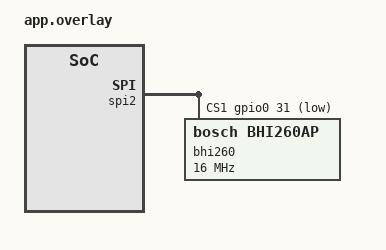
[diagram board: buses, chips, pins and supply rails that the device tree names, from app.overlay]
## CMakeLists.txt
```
# Step 3c app: pull-protocol product app (modular)
cmake_minimum_required(VERSION 3.20.0)
find_package(Zephyr REQUIRED HINTS $ENV{ZEPHYR_BASE})
project(pull_proto)

target_sources(app PRIVATE
  src/main.c
  src/store_flash.c
  src/led_state.c
  src/button.c
  src/ble_lifecycle.c
  src/pull_proto.c
  src/ble_config.c
  src/recorder.c
  src/power_state.c
  src/ota_gate.c
  src/sensor_prod.c
  src/sensor_synth.c
  src/bitpacker.c
  src/ring.c
  src/bhy2/bhy2.c
  src/bhy2/bhy2_hif.c
  src/bhy2/bhy2_parse.c
  src/bhy2/bhy2_zephyr.c
)
```

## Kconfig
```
# SGC app Kconfig — bench instrumentation gate (v0.20.0 producer-merge).
#
# Bench builds (JP-PC development): CONFIG_SGC_BENCH=y keeps the 1 Hz
# b1_rate telemetry thread alive. Production builds (ANNA-B402) set =n.
# The synthetic-run machinery ('S' frame producer, 'w' storage producer)
# is bench-only by construction: it lives behind this gate too.
menu "SGC"

config SGC_BENCH
	bool "Bench instrumentation (b1_rate telemetry, synth producers)"
	default y
	help
	  Keep serial bench telemetry and synthetic-run producers compiled
	  in. Say n for production images.

endmenu

# An app-root Kconfig REPLACES the Zephyr root — it must source the
# real tree itself (Zephyr docs: Application-Specific Kconfig).
source "Kconfig.zephyr"
```

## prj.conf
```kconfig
# Kconfig gates
CONFIG_BT=y
# Peripheral role: connectable + GATT server (BT_CONN follows)
CONFIG_BT_PERIPHERAL=y
CONFIG_BT_DEVICE_NAME="SGC-Dev"
# v0.21.5: F21 renames update GAP + advertised name (factory default
# stays "SGC-Dev" until the user renames; bt_set_name overrides it).
CONFIG_BT_DEVICE_NAME_DYNAMIC=y
CONFIG_LED=y
CONFIG_REBOOT=y
# External SPI NOR (stock Nicla: MX25R1635F 2 MB on spi2, CS P0.26 —
# board DTS already declares it; we just enable the driver family).
CONFIG_SPI=y
CONFIG_FLASH=y
# 4 KB erase granularity (driver default is 64 K blocks; both the chip
# and driver support the 4 K sector — erase path auto-selects by span).
# Required by the 4b circular run log for sector-padded packing.
CONFIG_SPI_NOR_FLASH_LAYOUT_PAGE_SIZE=4096

# ATT MTU 247 (Zephyr 4.4 recipe; old BT_L2CAP_RX_MTU symbol is gone):
# console lines (41 B) and stream frames (243 B) exceed the default 20-B
# notify cap of MTU 23. The phone side always initiates the exchange;
# the device just needs the capacity to answer 247.
CONFIG_BT_L2CAP_TX_MTU=300
CONFIG_BT_BUF_ACL_RX_SIZE=304
# TX burst headroom: default ~3 buffers/contexts ENOMEMs on the 3rd
# back-to-back notify (d_end after two dir lines). Stream + dir bursts
# need pool depth, not just size.
# (was CONFIG_BT_CONN_TX_MAX=10 — [DEPRECATED] in 4.4; the master default
#  several pools inherit is BT_BUF_ACL_TX_COUNT, Kconfig.gatt:18 chains it)
CONFIG_BT_BUF_ACL_TX_COUNT=10
# Compile-time invariant: EVT_RX count must EXCEED ACL_TX count (gcc.h
# static assert bites otherwise) — depth changes are a family affair.
CONFIG_BT_BUF_EVT_RX_COUNT=12
CONFIG_BT_L2CAP_TX_BUF_COUNT=10
# THE pool that starved (att.c:356 att_pool): MTU-exchange rsp + CCC writes
# + dir-line notify burst all draw from BT_ATT_TX_COUNT (default 3!) —
# the 3rd back-to-back notify ENOMEMs. att.c owns it; nothing else covers it.
CONFIG_BT_ATT_TX_COUNT=10

# F12 System Off (v0.23.0): 1 h unconnected SLEEP → sys_poweroff(); the
# <zephyr/sys/poweroff.h> API is gated by CONFIG_POWEROFF (the nRF52 SoC
# provides the z_sys_poweroff hook: soc/nordic/common/poweroff.c).
CONFIG_POWEROFF=y
# F13 rr line: reset-reason decode (System-Off wake = RESET_LOW_POWER_WAKE
# → printed as rr:4) via hwinfo_get_reset_cause().
CONFIG_HWINFO=y

# Serial command input (JP directive 09-25, ArduinoFW FWR-1/SR-5 parity):
# the console UART has RX on P0.9 (board pinctrl) — the DAPLink bridge
# forwards PC->board. One parse path (cmd_work), two transports.
CONFIG_CONSOLE=y
# The getline/getchar input helpers are a separate subsys under the
# console driver — without this umbrella the GETLINE choice is invisible.
CONFIG_CONSOLE_SUBSYS=y
# Serial RX = our own UART ISR (peripheral_uart pattern); the console
# getchar/getline subsystem is NOT used (broken on this nRF-UARTE:
# three wild-pointer boot faults, 09-26).
# Console INPUT needs the UART driver interrupt-driven (polling mode
# gives working printk TX but a dead RX path — zcmd silence, 09-26).
CONFIG_UART_INTERRUPT_DRIVEN=y
CONFIG_I2C=y
# Bench gate (Kconfig): b1_rate telemetry + synth producers (v0.20.0).
# The B2 differential oracle (bp_ref C++ + CONFIG_CPP) was REMOVED —
# the C bitpacker was proven byte-identical on-target (81/81 frames,
# ledger 2026-10-02) and stays guarded by the host-side golden suite.
CONFIG_SGC_BENCH=y

# ── OTA Stage 1 (REQ-OTA / F40 rewritten, JP GO 2026-10-31) ────────
# MCUboot dual-bank: sysbuild lane (tools/zbuild_ota.bat) pulls the
# bootloader child image in; app moves off 0x0 (one-time SWD migration
# flash = mcuboot.hex + signed app hex, zflash both).
CONFIG_BOOTLOADER_MCUBOOT=y
# MCUmgr: SMP transport over BLE (8D53DC1D-... service, nRF Connect
# for Mobile uploads) + image management group (upload/verify/test).
# NAMES: Zephyr 4.4 renamed these (was MCUMGR_SMP_BT / CMD_IMG_MGMT);
# build gate MUST verify autoconf.h actually contains them (unknown
# Kconfigs warn silently = feature off).
# deps verified from the tree itself (build p0240a abort + NCS Kconfigs):
# MCUMGR needs ZCBOR + NET_BUF; MCUMGR_GRP_IMG (the 4.4 name — NOT
# MCUMGR_CMD_IMG_GROUP) needs IMG_MANAGER. Zephyr 4.4 layout:
# subsys/mgmt/mcumgr/grp/img_mgmt.
CONFIG_ZCBOR=y
CONFIG_IMG_MANAGER=y
CONFIG_MCUMGR=y
CONFIG_MCUMGR_TRANSPORT_BT=y
# Attempt-9 (build f164d9a RAM overflow -11KB: full smp_svr transport set does
# not fit; NETBUF_COUNT x 2475 + stacks). MINIMAL fix: only the params query —
# the actual root cause of the app's "MTU: 0" (Device Manager reads OS-group
# mcumgr params at connect: buffer_size 384 / buffer_count 4 — app adapts).
# Upload frames cap at our proven 247-MTU transport; slower, fully functional.
CONFIG_MCUMGR_GRP_OS=y
CONFIG_MCUMGR_GRP_OS_MCUMGR_PARAMS=y
# JP polish 2026-11-02: app looked unresponsive on reset (250ms built-in delay
# made double-tap necessary) - 100ms keeps the ack window but feels instant.
CONFIG_MCUMGR_GRP_OS_RESET_MS=100
# Stack watermarks for the DS verification plan: serial 'W' command.
CONFIG_THREAD_ANALYZER=y
CONFIG_THREAD_NAME=y
# attempt-12: without BT reassembly each SMP frame must fit ONE BLE write (MTU-3=244).
# 384 was only the Kconfig default. Inline comments on value lines are FORBIDDEN (Kconfig glue bug).
# Coupling invariant (DS design 2026-11-01, attempt-13): NETBUF_SIZE <= MTU-3.
# Image-list response (2 slots, 32B hashes) = 252-262B; 297 leaves 35B headroom.
CONFIG_MCUMGR_TRANSPORT_NETBUF_SIZE=297
CONFIG_MCUMGR_GRP_IMG=y
# Attempt-3 link lesson: mgmt_callback_register() exists ONLY under
# NOTIFICATION_HOOKS (mgmt/Kconfig); IMG_MANAGER absent from .config
# entirely -> MCUMGR_GRP_IMG silently dropped (dep chain). Both explicit:
CONFIG_MCUMGR_MGMT_NOTIFICATION_HOOKS=y
CONFIG_IMG_MANAGER=y
# Attempt-6 lesson (from NCS's own smp_svr sample, this exact tree):
# IMG_MANAGER's real deps = STREAM_FLASH + FLASH_MAP (+ CRC for img cmds).
# Without them IMG_MANAGER is unsatisfiable -> GRP_IMG silently dropped
# EVEN WITH the MCUboot child present. Full chain now explicit:
CONFIG_STREAM_FLASH=y
CONFIG_FLASH_MAP=y
CONFIG_CRC=y
```

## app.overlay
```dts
/*
 * Devicetree patch for THIS app only (board files stay untouched).
 *
 * The Nicla has no plain GPIO LED: its RGB LED hangs on the IS31FL3194
 * I2C chip at address 0x53 on I2C0 (TWIM0 @ 0x40003000), which the
 * board file already declares as a node named "led_rgb" — but WITHOUT
 * a devicetree label, so &led_rgb cannot be used. We therefore point
 * the standard alias "led0" at the node by full path.
 *
 * Our code then requests the LED with DT_ALIAS(led0), which is the
 * canonical Zephyr pattern and stays stable even if we later swap
 * boards (the overlay, not the code, absorbs the hardware detail).
 */
/ {
	aliases {
		led0 = &{/soc/i2c@40003000/is31fl3194@53/led_rgb};
	};
};


/*
 * BHI260AP smart sensor hub (M3 step 2). Second device on the physical
 * SPI0 bus (= &spi2, already enabled for the NOR flash): SCK P0.03 /
 * MOSI P0.04 / MISO P0.05 shared, CS P0.31 dedicated ("CS BHI260",
 * Arduino variant pin 17 — NOT P0.29, which is SPI1's header CS1).
 * 16 MHz (Arduino library clock). Host interrupt P0.14 (unused Phase A).
 */
&spi2 {
	/* BOTH chip selects on the controller: reg=<0> selects the first
	 * (flash, P0.26 — unchanged from the board file), reg=<1> selects
	 * the second (BHI260, P0.31 — our addition). */
	cs-gpios = <&gpio0 26 GPIO_ACTIVE_LOW>, <&gpio0 31 GPIO_ACTIVE_LOW>;

	bhi260: bhi260@1 {
		compatible = "bosch,bhi260ap";
		reg = <1>;
		spi-max-frequency = <16000000>;
	/* Hard reset line of the hub: BHI260 RESET pin 9 = Arduino variant
	 * pin 13 = P0.18 (see variant.cpp:91). Arduino never drives it (PCB
	 * pull-up holds it high); we pulse it low at bring-up to clear any
	 * garbage-latched state. NOTE: kept in code, not DT — the upstream
	 * bosch,bhi260ap binding silently drops non-standard properties
	 * (reset-gpios) at gen_defines time. */
		status = "okay";
	};
};

/*
 * F03 arming button (2026-10-14): monostable switch / piezo on P0.02,
 * closed to GND. Zephyr pin numbers are PHYSICAL nRF pins — pin 2
 * IS P0.02 (not the Arduino numbering trap).
 */
/ {
	aliases {
		wake-button = &wake_button;   /* DT_ALIAS(wake_button) */
	};

	wake_button: wake_button {
		/* Plain node (no gpio-keys binding — that needs a parent
		 * container in Zephyr 4.4); the driver reads gpios +
		 * gpio-pull-up directly via DT_ALIAS. */
		status = "okay";
		gpios = <&gpio0 2 GPIO_ACTIVE_LOW>;
		gpio-pull-up;          /* internal pull-up, switch to GND */
	};
};
```

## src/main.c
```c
/*
 * SGC Zephyr — App 03: pull-protocol product app (v0.23.0)
 * ==================================================================
 * Wiring only (step 3c split; v0.20.0 producer-merge cleanup removed
 * the retired scaffolding — bp_ref oracle, boot self-test, demo_svc,
 * store_fake):
 *
 *   store.h + store_flash.c  run blobs (byte-exact ArduinoFW layout)
 *   led_state.c              LED as link state (own 1 Hz tick)
 *   ble_lifecycle.c          advertising + conn callbacks + restart
 *   pull_proto.c             0x5347 product service: D/s commands,
 *                            binary frames, END marker, error paths
 *   recorder.c               SLEEP/ARMED/LOGGING/POST_RUN machine + baro-drop
 *   power_state.c            SLEEP low-power actuator (slow adv, sensor park,
 *                            1 h unconnected → System Off, rr line) (F12/F13)
 *   sensor_prod.c            BHI260 snapshots (recorder feed)
 *   sensor_synth.c           bench: synthetic FRAME runs ('S') through
 *                            the identical pipeline (pole/turn truth)
 *
 * The SGC concurrency pattern holds everywhere: ISR/callback context
 * only SUBMITS work; real work runs from the sysworkq; main() idles.
 */
#include <zephyr/kernel.h>
#include "store.h"
#include "recorder.h"
#include "ble_config.h"

/* M3 Phase A: BHI260AP hub bring-up; Phase B1: real sensor producer. */
#include "bhy2/bhy2_zephyr.h"
#include "sensor_prod.h"
#include "led_state.h"
#include "button.h"
#include "ble_lifecycle.h"
#include "pull_proto.h"
#include "power_state.h"
#include "ota_gate.h"

#include "app_version.h"

int main(void)
{
	printk("SGC app-03 pull_proto v%s\n", APP_VERSION);
	power_state_init();   /* timers + {"ev":"boot","rr":N} (rr=4: System-Off
	                      * wake cold boot, F13) */

	/* Order matters: store data first (listings + streams read it),
	 * then peripherals, then BT last (callbacks can fire from
	 * bt_enable onward — everything they touch must exist). */
	store_init();
	ble_config_start();
	ota_gate_init();   /* 0.24.0: SMP only in SLEEP (REQ-OTA) */   /* v0.18.0: config chars + battery poller */
	recorder_init();
	if (bhy2_bringup()) {
		sensor_prod_start();
	}

	if (led_state_init() != 0) {
		return 0;
	}
	button_init();     /* F03: press-to-arm (P0.02, 20 ms debounce) */
	pull_proto_start();
	/* F12: SLEEP is entered AT BOOT — before bt_enable, so the first
	 * ad set is born slow (2 s); sensors park and the 1 h System-Off
	 * window opens here. */
	power_state_on_sleep_enter();
	ble_lifecycle_start();

	printk("init complete, entering idle\n");
	while (1) {
		k_sleep(K_FOREVER);
	}
	return 0;
}
```

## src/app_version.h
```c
/*
 * app_version.h — single source of truth for the firmware version
 * (JP doctrine: one define, everything else reads it). Read by the
 * boot banner (main.c), the serial 'V' path, and — 0.23.6 — the
 * ABC6 GATT characteristic so the phone app can display it.
 */
#ifndef SGC_APP_VERSION_H
#define SGC_APP_VERSION_H

#define APP_VERSION "0.24.7"   /* +serial W stack watermarks (DS plan) + MCUmgr reset 100ms (double-tap quirk). Doubles as OTA loop image (alternate 0.24.6/0.24.7) */

#endif /* SGC_APP_VERSION_H */
```

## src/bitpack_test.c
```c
/**
 * @file    bitpack_test.c
 * @brief   On-target differential test: sgc_bitpacker (C port) vs the
 *          ORIGINAL ArduinoFW BitPacker (C++, compiled alongside).
 *
 * Case 1 embeds the B2a golden frames (real BHI260 capture, 2026-10-02):
 *   RV  x=-1405 y=-6711 z=-74 w=14879 (all 5 identical, device still)
 *   LACC (4,-1,3) (10,1,9) (9,1,0) (8,-3,9) (6,1,4)
 *   BARO 114782 raw -> div2 57391
 * Cases 2-5 exercise classification boundaries, forced anchor (frame 50),
 * timestamp jump, baro-delta edges. Every frame must pack byte-identically
 * on both implementations.
 */

#include "bitpack_test.h"
#include "bitpacker.h"
#include "bp_ref/bp_ref_glue.h"
#include <string.h>
#include <zephyr/kernel.h>
#include <zephyr/sys/printk.h>

struct tf {
	struct sgc_raw_frame f;
	uint32_t ts;
};

static struct tf case_golden[] = {
	{{14879, -1405, -6711, -74, 4, -1, 3, 0}, 10},
	{{14879, -1405, -6711, -74, 10, 1, 9, 57391}, 20},
	{{14879, -1405, -6711, -74, 9, 1, 0, 57391}, 30},
	{{14879, -1405, -6711, -74, 8, -3, 9, 57391}, 40},
	{{14879, -1405, -6711, -74, 6, 1, 4, 57391}, 50},
};

static struct tf case_coast[60];

static struct tf case_bound[] = {
	{{1000, 0, 0, 0, 0, 0, 0, 40000}, 0},
	{{1007, 0, 0, 0, 0, 0, 0, 40000}, 10},    /* +7: fits 4b */
	{{992, 0, 0, 0, 0, 0, 0, 40000}, 20},     /* -15 -> -8: fits 4b */
	{{1000, 8, 0, 0, 0, 0, 0, 40000}, 30},    /* +8: needs 8b */
	{{1000, 8, -128, 0, 0, 0, 0, 40000}, 40}, /* -128: 8b edge */
	{{1000, 8, -128, 127, 0, 0, 0, 40000}, 50},  /* anchor frame */
	{{1000, 8, -128, 127, 0, 200, 0, 40000}, 60}, /* +200: T3 */
};

static struct tf case_tjump[] = {
	{{500, 500, 500, 500, 0, 0, 0, 30000}, 0},
	{{500, 500, 500, 500, 0, 0, 0, 30000}, 10},
	{{500, 500, 500, 500, 0, 0, 0, 30000}, 5000},  /* >1023 ms -> T3 */
	{{500, 500, 500, 500, 0, 0, 0, 30000}, 5010},
};

static struct tf case_baro[] = {
	{{0, 0, 0, 16000, 0, 0, 0, 50000}, 0},
	{{0, 0, 0, 16000, 0, 0, 0, 50007}, 10},
	{{0, 0, 0, 16000, 0, 0, 0, 50014}, 20},   /* delta 7: fits 4b */
	{{0, 0, 0, 16000, 0, 0, 0, 50022}, 30},   /* delta 8: 8b */
	{{0, 0, 0, 16000, 0, 0, 0, 50152}, 40},   /* +130: T3 */
};

static uint32_t g_fail;

static void run_case(const char *name, const struct tf *frames, size_t n)
{
	struct sgc_bitpacker port;
	uint8_t rb[18], rtype;

	sgc_bitpacker_reset(&port);
	bp_ref_reset();
	uint32_t fails_before = g_fail;

	for (size_t i = 0; i < n; i++) {
		uint8_t ps = sgc_bitpacker_encode(&port, &frames[i].f, frames[i].ts);
		uint8_t rs = bp_ref_encode(frames[i].f.q_w, frames[i].f.q_x,
					   frames[i].f.q_y, frames[i].f.q_z,
					   frames[i].f.la_x, frames[i].f.la_y,
					   frames[i].f.la_z,
					   frames[i].f.baro_pa_div2,
					   frames[i].ts, rb, &rtype);
		bool ok = (ps == rs) && (port.last_type == rtype) &&
			  (memcmp(port.buf, rb, 18) == 0);
		if (!ok) {
			g_fail++;
			printk("{\"ev\":\"bp_fail\",\"case\":\"%s\",\"i\":%u,"
			       "\"ref\":%u/%u,\"port\":%u/%u}\n",
			       name, (unsigned)i, rs, rtype, ps, port.last_type);
		}
	}
	printk("{\"ev\":\"bp_case\",\"case\":\"%s\",\"n\":%u,\"ok\":%s}\n",
	       name, (unsigned)n,
	       (g_fail == fails_before) ? "true" : "false");
}

void bitpack_test_run(void)
{
	g_fail = 0;

	run_case("GOLDEN", case_golden,
		 sizeof(case_golden) / sizeof(case_golden[0]));

	for (int i = 0; i < 60; i++) {
		struct sgc_raw_frame f = {15000, 100, -200, 30000, 5, -5, 7, 50000};

		if (i) {
			f.q_w += (i & 1) ? 1 : -1;
			f.la_x += (i & 1) ? 1 : -1;
		}
		case_coast[i].f = f;
		case_coast[i].ts = (uint32_t)i * 10;
	}
	run_case("COAST", case_coast, 60);

	run_case("BOUND", case_bound, sizeof(case_bound) / sizeof(case_bound[0]));
	run_case("TJUMP", case_tjump, sizeof(case_tjump) / sizeof(case_tjump[0]));
	run_case("BARO", case_baro, sizeof(case_baro) / sizeof(case_baro[0]));

	printk("{\"ev\":\"bp_verdict\",\"pass\":%s,\"fails\":%u}\n",
	       g_fail == 0 ? "true" : "false", (unsigned)g_fail);
}
```

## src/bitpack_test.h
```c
#pragma once
#ifdef __cplusplus
extern "C" {
#endif
/* Differential test: C port vs ArduinoFW C++ reference ('V' command). */
void bitpack_test_run(void);
#ifdef __cplusplus
}
#endif
```

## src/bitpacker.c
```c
/**
 * @file    bitpacker.c
 * @brief   Adaptive bit-packing — C port of ArduinoFW bit_packer.cpp.
 *
 * Faithful port: same classification ranges, same clamps, same header
 * layout, same seq timing (seq = frame_count at encode time, pre-increment).
 * Differential-tested byte-exact against the original C++ on host.
 */

#include "bitpacker.h"
#include <string.h>

void sgc_bitpacker_reset(struct sgc_bitpacker *bp)
{
	memset(&bp->last, 0, sizeof(bp->last));
	memset(bp->buf, 0, sizeof(bp->buf));
	bp->frame_count = 0;
	bp->last_ms = 0;
	bp->last_size = 0;
	bp->last_type = SGC_PKT_T3;
}

static uint8_t classify(const int32_t *deltas, int32_t baro_delta)
{
	int all4 = 1, all8 = 1;

	for (int i = 0; i < 7; i++) {
		if (deltas[i] < -8 || deltas[i] > 7) {
			all4 = 0;
		}
		if (deltas[i] < -128 || deltas[i] > 127) {
			all8 = 0;
		}
	}
	if (baro_delta < -8 || baro_delta > 7) {
		all4 = 0;
	}
	if (baro_delta < -128 || baro_delta > 127) {
		all8 = 0;
	}
	if (all4) {
		return SGC_PKT_T1;
	}
	if (all8) {
		return SGC_PKT_T2;
	}
	return SGC_PKT_T3;
}

static void write_header(struct sgc_bitpacker *bp, uint32_t delta_ms, uint8_t type)
{
	uint8_t seq = (uint8_t)(bp->frame_count & 0x0Fu);
	uint16_t hdr = (uint16_t)(((uint16_t)type << 14) | ((uint16_t)seq << 10) |
				  ((uint16_t)(delta_ms & 0x3FFu)));
	bp->buf[0] = (uint8_t)(hdr & 0xFFu);
	bp->buf[1] = (uint8_t)(hdr >> 8);
}

static uint8_t clamp4(int32_t v)
{
	if (v < -8) {
		v = -8;
	}
	if (v > 7) {
		v = 7;
	}
	return (uint8_t)((uint32_t)v & 0x0Fu);
}

static uint8_t clamp8(int32_t v)
{
	if (v < -128) {
		v = -128;
	}
	if (v > 127) {
		v = 127;
	}
	return (uint8_t)((uint32_t)v & 0xFFu);
}

static void write_t1_payload(struct sgc_bitpacker *bp, const int32_t *deltas, int32_t baro_delta)
{
	uint8_t n[8];

	for (int i = 0; i < 7; i++) {
		n[i] = clamp4(deltas[i]);
	}
	n[7] = clamp4(baro_delta);
	bp->buf[2] = (uint8_t)((n[0] << 4) | n[1]);
	bp->buf[3] = (uint8_t)((n[2] << 4) | n[3]);
	bp->buf[4] = (uint8_t)((n[4] << 4) | n[5]);
	bp->buf[5] = (uint8_t)((n[6] << 4) | n[7]);
}

static void write_t2_payload(struct sgc_bitpacker *bp, const int32_t *deltas, int32_t baro_delta)
{
	for (int i = 0; i < 7; i++) {
		bp->buf[2 + i] = clamp8(deltas[i]);
	}
	bp->buf[9] = clamp8(baro_delta);
}

static void put16le(uint8_t *p, uint16_t v)
{
	p[0] = (uint8_t)(v & 0xFFu);
	p[1] = (uint8_t)((v >> 8) & 0xFFu);
}

static void write_t3_payload(struct sgc_bitpacker *bp, const struct sgc_raw_frame *cur)
{
	put16le(&bp->buf[2], (uint16_t)cur->q_w);
	put16le(&bp->buf[4], (uint16_t)cur->q_x);
	put16le(&bp->buf[6], (uint16_t)cur->q_y);
	put16le(&bp->buf[8], (uint16_t)cur->q_z);
	put16le(&bp->buf[10], (uint16_t)cur->la_x);
	put16le(&bp->buf[12], (uint16_t)cur->la_y);
	put16le(&bp->buf[14], (uint16_t)cur->la_z);
	put16le(&bp->buf[16], cur->baro_pa_div2);
}

uint8_t sgc_bitpacker_encode(struct sgc_bitpacker *bp,
			     const struct sgc_raw_frame *cur, uint32_t ts_ms)
{
	int32_t deltas[7] = { 0 };

	if (bp->frame_count == 0) {
		bp->last = *cur;
		bp->last_ms = ts_ms;
		bp->frame_count = 1;
		write_header(bp, 0, SGC_PKT_T3);
		write_t3_payload(bp, cur);
		bp->last_size = 18;
		bp->last_type = SGC_PKT_T3;
		return 18;
	}

	deltas[0] = (int32_t)cur->q_w - (int32_t)bp->last.q_w;
	deltas[1] = (int32_t)cur->q_x - (int32_t)bp->last.q_x;
	deltas[2] = (int32_t)cur->q_y - (int32_t)bp->last.q_y;
	deltas[3] = (int32_t)cur->q_z - (int32_t)bp->last.q_z;
	deltas[4] = (int32_t)cur->la_x - (int32_t)bp->last.la_x;
	deltas[5] = (int32_t)cur->la_y - (int32_t)bp->last.la_y;
	deltas[6] = (int32_t)cur->la_z - (int32_t)bp->last.la_z;

	int32_t baro_delta = (int32_t)cur->baro_pa_div2 - (int32_t)bp->last.baro_pa_div2;

	uint8_t type = classify(deltas, baro_delta);

	if ((bp->frame_count % SGC_BITPACK_ANCHOR_EVERY) == 0) {
		type = SGC_PKT_T3;
	}

	uint32_t delta_ms = ts_ms - bp->last_ms;
	if (delta_ms > 1023) {
		type = SGC_PKT_T3;
	}

	write_header(bp, (delta_ms > 1023) ? 0 : delta_ms, type);

	switch (type) {
	case SGC_PKT_T1:
		write_t1_payload(bp, deltas, baro_delta);
		bp->last_size = 6;
		break;
	case SGC_PKT_T2:
		write_t2_payload(bp, deltas, baro_delta);
		bp->last_size = 10;
		break;
	default:
		write_t3_payload(bp, cur);
		bp->last_size = 18;
		break;
	}

	bp->last_type = type;
	bp->last = *cur;
	bp->last_ms = ts_ms;
	bp->frame_count++;

	return bp->last_size;
}
```

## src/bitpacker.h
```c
/**
 * @file    bitpacker.h
 * @brief   Adaptive bit-packing — C port of ArduinoFW bit_packer.cpp (v4.90).
 *
 * Frame layout (byte-identical to ArduinoFW, golden-tested 2026-10-02):
 *   Header (2 B): bits 15-14 = type, 13-10 = seq (4b), 9-0 = delta ms (10b)
 *   T1 (6 B): 8 x int4 deltas   (7 IMU + baro)  — coasting
 *   T2 (10 B): 8 x int8 deltas  (7 IMU + baro)  — turning
 *   T3 (18 B): 7 x int16 full IMU + uint16 baro — anchor (first frame,
 *              every ANCHOR_EVERY frames, or delta_ms > 1023)
 *
 * Baro carried as baro_pa_div2 (2 Pa/LSB, uint16).
 */

#pragma once

#ifdef __cplusplus
extern "C" {
#endif

#include <stdint.h>
#include <stddef.h>

/* Mirrors ArduinoFW RawFrame (packed, 16 B). */
struct sgc_raw_frame {
    int16_t  q_w, q_x, q_y, q_z;   /* quaternion Q14 */
    int16_t  la_x, la_y, la_z;     /* linear accel (LACC raw) */
    uint16_t baro_pa_div2;         /* pressure / 2 */
};

enum sgc_pkt_type {
    SGC_PKT_T1 = 0,
    SGC_PKT_T2 = 1,
    SGC_PKT_T3 = 2,
};

struct sgc_bitpacker {
    struct sgc_raw_frame last;
    uint16_t frame_count;
    uint32_t last_ms;
    uint8_t  buf[18];
    uint8_t  last_size;
    uint8_t  last_type;
};

void   sgc_bitpacker_reset(struct sgc_bitpacker *bp);
/* Encode one frame; returns packed size (6/10/18). Data in bp->buf. */
uint8_t sgc_bitpacker_encode(struct sgc_bitpacker *bp,
			     const struct sgc_raw_frame *cur, uint32_t ts_ms);

#define SGC_BITPACK_ANCHOR_EVERY 50u   /* forced T3 every 50 frames @100 Hz */

#ifdef __cplusplus
}
#endif
```

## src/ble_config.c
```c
/*
 * ble_config.c — see ble_config.h. Battery recipe ported verbatim from
 * ArduinoCore-mbed Nicla_System (getBatteryVoltagePercentage), BQ25120A
 * @ 0x6A on i2c1 (Wire1). Sources: BQ25120A.h/.cpp, Nicla_System.cpp
 * (fetched 2026-10-09, recorded in the ledger).
 */
#include <zephyr/kernel.h>
#include <zephyr/drivers/gpio.h>
#include <zephyr/drivers/flash.h>
#include <zephyr/drivers/i2c.h>
#include <string.h>
#include "ble_config.h"
#include "ble_lifecycle.h"   /* 0.23.3: connected-aware battery poll rate */
#include "store.h"
#include "recorder.h"

/* ── Persistence (ArduinoFW FlashConfig, byte-identical) ──────────── */
#define CFG_ADDR        0x1FC000u
#define CFG_MAGIC       0x53474343u   /* "SGCC" — same as ArduinoFW   */
struct __attribute__((packed)) cfg_disk {
	uint32_t magic;
	char     dev_name[21];
	uint8_t  arm_side;
	uint8_t  discipline;
	uint8_t  _pad[5];
};

static char    cfg_name[21] = "SGC";
static uint8_t cfg_arm;              /* 0=left */
static uint8_t cfg_disc = 1;         /* GS parity with ArduinoFW */

static struct k_work_delayable cfg_flush;
static struct k_work_delayable batt_work;

static void cfg_flush_handler(struct k_work *w)
{
	const struct device *f = store_flash_device();

	if (!f) {
		printk("cfg: no flash device\n");
		return;
	}
	struct cfg_disk d;

	memset(&d, 0, sizeof(d));
	d.magic = CFG_MAGIC;
	strncpy(d.dev_name, cfg_name, sizeof(d.dev_name) - 1);
	d.arm_side = cfg_arm;
	d.discipline = cfg_disc;

	int rc = flash_erase(f, CFG_ADDR, 4096);

	if (rc == 0) {
		rc = flash_write(f, CFG_ADDR, &d, sizeof(d));
	}
	printk("cfg: persist '%s' (arm=%u disc=%u) rc=%d\n",
	       cfg_name, cfg_arm, cfg_disc, rc);
}

static void cfg_schedule_flush(void)
{
	/* Coalesce: one pending flush picks up the newest RAM values. */
	k_work_reschedule(&cfg_flush, K_MSEC(250));
}

static void cfg_load(void)
{
	const struct device *f = store_flash_device();
	struct cfg_disk d;

	if (!f || flash_read(f, CFG_ADDR, &d, sizeof(d)) != 0) {
		printk("cfg: load read FAILED — defaults\n");
		return;
	}
	if (d.magic != CFG_MAGIC) {
		printk("cfg: no valid config (magic 0x%08lx) — defaults\n",
		       (unsigned long)d.magic);
		return;
	}
	memcpy(cfg_name, d.dev_name, 20);
	cfg_name[20] = '\0';
	cfg_arm = d.arm_side ? 1 : 0;
	cfg_disc = (d.discipline > 3) ? 1 : d.discipline;
	printk("cfg: loaded '%s' arm=%u disc=%u\n",
	       cfg_name, cfg_arm, cfg_disc);
}

/* ── Config API ───────────────────────────────────────────────────── */
const char *ble_config_dev_name(void)  { return cfg_name; }
uint8_t ble_config_arm_side(void)      { return cfg_arm; }
uint8_t ble_config_discipline(void)    { return cfg_disc; }

void ble_config_set_dev_name(const char *name, uint8_t len)
{
	if (len > 20) {
		len = 20;
	}
	memcpy(cfg_name, name, len);
	cfg_name[len] = '\0';
	cfg_schedule_flush();
}

void ble_config_set_arm_side(uint8_t v)
{
	cfg_arm = v ? 1 : 0;
	cfg_schedule_flush();
}

void ble_config_set_discipline(uint8_t v)
{
	cfg_disc = (v > 3) ? 1 : v;   /* ArduinoFW parity: >3 → 1 */
	cfg_schedule_flush();
}

/* ── Battery (BQ25120A @ 0x6A on i2c1) ────────────────────────────── */
#define BQ_ADDR       0x6A
#define BQ_STATUS     0x00
#define BQ_FAULTS     0x01
#define BQ_FAST_CHG   0x03
#define BQ_BATT_MON   0x0A

#define BATT_UNKNOWN  0x7F

static const struct device *bqi2c;
static uint8_t batt_cache = BATT_UNKNOWN;
static bool batt_vin;          /* VIN present at last good read (USB power) */

static int bq_read(uint8_t reg, uint8_t *val)
{
	return i2c_write_read(bqi2c, BQ_ADDR, &reg, 1, val, 1);
}

static int bq_write(uint8_t reg, uint8_t val)
{
	uint8_t buf[2] = { reg, val };

	return i2c_write(bqi2c, buf, 2, BQ_ADDR);
}

/* Nicla_System.cpp getBatteryVoltagePercentage() — verbatim port.
 * -1 no battery / -2 unreadable / -3 skipped (battery mode) /
 * -4 I2C dead; else 0..100. */
static bool bq_on_vin = true;   /* 0.23.2: VIN state from FAULTS, refreshed per read */

static int bq_battery_pct(void)
{
	uint8_t faults;

	if (bq_read(BQ_FAULTS, &faults) != 0) {
		return -4;
	}
	static bool diag_done;   /* one-shot bench diagnostic (values) */
	if (!diag_done) {
		diag_done = true;
		uint8_t st = 0xFF;
		bq_read(BQ_STATUS, &st);
		printk("batt: BQ alive, faults=0x%02x status=0x%02x\n",
		       faults, st);
	}
	if (faults & 0x20) {            /* BAT_UVLO: not connected / too low */
		return -1;
	}

	const bool on_battery = (faults & 0x40) != 0;
	bq_on_vin = !on_battery;

	uint8_t data;

	if (on_battery) {
		/* 0.23.2 (JP bench 2026-10-27: battery % showed "unknown" the
		 * first time the device ran on battery): with VIN absent nothing
		 * is charging, so the datasheet 9.3.4 charge-pause dance is
		 * unnecessary — trigger VBMON directly and read it. The 0.21.4
		 * "CD-pin dance not ported" caveat only ever applied to reads
		 * taken while VIN was present. */
		if (bq_write(BQ_BATT_MON, 0x80) != 0) {   /* VBMON_READ */
			return -4;
		}
		k_msleep(3);
		if (bq_read(BQ_BATT_MON, &data) != 0) {
			return -4;
		}
	} else {
		/* Pause charging for an accurate reading (datasheet 9.3.4). */
		uint8_t fastchg;

		if (bq_read(BQ_FAST_CHG, &fastchg) != 0) {
			return -4;
		}
		bool was_charging = (fastchg & 0x02) == 0;

		if (fastchg & 0x02) {
			/* 0.23.5 self-heal (bench 2026-10-28: after 13 h on USB
			 * the cell still read the 92% band — a paused charger
			 * floats the cell at its natural voltage and the band
			 * never moves. A failed restore in ANY earlier poll
			 * leaves bit1 stuck FOREVER: was_charging=false then
			 * skips the restore on every later read. Clear it,
			 * loudly, then run the normal pause->read->restore.) */
			if (bq_write(BQ_FAST_CHG, fastchg & ~0x02) == 0) {
				printk("batt: charger was PAUSED - restored\n");
			}
			was_charging = true;
		}

		if (was_charging && bq_write(BQ_FAST_CHG, fastchg | 0x02) != 0) {
			return -4;
		}
		int rc = bq_write(BQ_BATT_MON, 0x80);   /* VBMON_READ */
		k_msleep(3);
		if (was_charging) {
			/* 0.23.5: the restore may not silently fail — a single
			 * NAK here pauses charging forever (see self-heal
			 * above). Retry; scream if it sticks. */
			int rr = -1;

			for (int i = 0; i < 3 && rr != 0; i++) {
				rr = bq_write(BQ_FAST_CHG, fastchg & ~0x02);
			}
			if (rr != 0) {
				printk("batt: FAST_CHG restore FAILED\n");
			}
		}
		if (rc != 0) {
			return -4;
		}
		if (bq_read(BQ_BATT_MON, &data) != 0) {
			return -4;
		}
	}
	if ((data & 0xFC) == 0) {
		return -2;
	}

	static const int threshold_lookup[] = { 0, 2, 4, 6, 0, 0, 8, 10 };
	int tens = 60 + ((data >> 5) & 0x03) * 10;
	int ones = threshold_lookup[(data >> 2) & 0x07];

	return tens + ones;
}

static void batt_work_handler(struct k_work *w)
{
	struct k_work_delayable *d =
		CONTAINER_OF(w, struct k_work_delayable, work);
	int pct = bq_battery_pct();

	switch (pct) {
	case -3:
		/* no longer produced (0.23.2) — defensive */
		batt_vin = false;
		batt_cache = BATT_UNKNOWN;
		break;
	case -4:
		printk("batt: BQ25120A I2C error\n");
		batt_cache = BATT_UNKNOWN;
		break;
	case -1:
	case -2:
		/* 0.23.3: floor code (-2) = voltage BELOW the lowest resolvable
		 * band (~60%) — that is real information, not an error. Encode it
		 * as the 0 sentinel; the app shows "< 60%". Real 0%% never occurs
		 * (the encoding floor is 60). -1 (BAT_UVLO) stays unknown. */
		batt_cache = (pct == -2) ? 0 : BATT_UNKNOWN;
		break;
	default:
		batt_cache = (uint8_t)(pct & 0x7F);
		/* 0.23.2: VIN state now comes from the FAULTS register
		 * (bq_on_vin), NOT from read success — battery-mode reads
		 * succeed too, so bit7 (charging) stays false on battery. */
		batt_vin = bq_on_vin;
		break;
	}
	/* 0.23.3 (JP: charging indication should change live when USB is
	 * plugged/unplugged): poll fast while a phone is linked — the app
	 * refreshes every 5 s — and slow otherwise so SLEEP keeps its long
	 * idle stretches (a 5 s poll would wake the SoC 12x/min for nothing). */
	k_work_reschedule(d, K_SECONDS(
		ble_lifecycle_connected() ? 5 : 30));
}

/* ── Status surfaces ──────────────────────────────────────────────── */
uint8_t ble_config_battery_byte(void)
{
	/* v0.21.4: bit7 = on USB power AND not full (charging). VIN state is
	 * implied by the read path (success ⇒ VIN present; -3 ⇒ battery).
	 * CHG_STAT pin still TODO — this reports "charging" until 100%, then
	 * "on USB, held" without the bolt. Good enough for the snow kit. */
	bool charging = batt_vin && batt_cache != BATT_UNKNOWN &&
			batt_cache < 100;
	return batt_cache | (charging ? 0x80 : 0x00);
}

bool ble_config_on_vin(void)
{
	/* 0.23.5 (JP GO 2026-10-28): power policy input — on USB the
	 * device must NOT System Off (a bench device left unconnected
	 * went dark for 11 h). Refreshed every poll (5 s / 30 s); the
	 * boot-time default is true, which can only delay (never
	 * enable) an off by one idle-poll period on battery. */
	return bq_on_vin;
}

uint8_t ble_config_state_byte(void)
{
	/* recorder: SLEEP=0 ARMED=1 LOGGING=2 POST_RUN=3; sensor flags 0
	 * until the BHI status port. */
	return recorder_state_idx() & 0x1F;
}

void ble_config_batt_debug(void)
{
	/* 0.23.4 raw-register latch test (bench serial 'y', JP 2026-10-28
	 * "always 92%, never another value"). mon_pre = the register as
	 * the last conversion left it; pct = the full production read
	 * (re-triggers a conversion, incl. the charge-pause on VIN);
	 * mon_post = register after it. Across successive 'y' polls:
	 * mon_* moving = conversions live (bands are just coarse);
	 * mon_* frozen forever, especially while charging, = latched. */
	uint8_t faults = 0, mon_pre = 0, mon_post = 0;
	uint8_t fastchg = 0, st = 0;
	int fr = bq_read(BQ_FAULTS, &faults);
	int mpre = bq_read(BQ_BATT_MON, &mon_pre);
	int pct = bq_battery_pct();
	int mpost = bq_read(BQ_BATT_MON, &mon_post);
	bq_read(BQ_FAST_CHG, &fastchg);   /* 0.23.5: bit1=1 charging paused */
	bq_read(BQ_STATUS, &st);

	printk("batt_dbg: fr=%d faults=0x%02x mon_pre=0x%02x(%d) "
	       "pct=%d mon_post=0x%02x(%d) fastchg=0x%02x st=0x%02x "
	       "cache=0x%02x byte=0x%02x\n",
	       fr, faults, mon_pre, mpre, pct, mon_post, mpost,
	       fastchg, st, batt_cache, ble_config_battery_byte());
}

uint8_t ble_config_flash_used_pct(void)
{
	return store_used_pct();
}

uint8_t ble_config_cal(void)
{
	return 0;             /* TODO: BHI calibration-status port */
}

/* ── Boot ─────────────────────────────────────────────────────────── */
void ble_config_start(void)
{
	k_work_init_delayable(&cfg_flush, cfg_flush_handler);

	/* Zephyr nodelabel vs Arduino Wire numbering TRAP (2026-10-10):
	 * the BQ25120A + IS31FL3194 sit on P0.15/P0.16, which is Zephyr
	 * &i2c0 (TWIM0) — the board dts puts the LED driver there and the
	 * LED has worked since M0. Zephyr &i2c1 = P0.22/P0.23 (Arduino
	 * "Wire", the sensor-side bus) — nothing at 0x6A there. Arduino's
	 * Wire1 = Zephyr i2c0; do not trust the names across APIs. */
	bqi2c = DEVICE_DT_GET(DT_NODELABEL(i2c0));
	if (!device_is_ready(bqi2c)) {
		printk("cfg: i2c1 not ready — battery stays unknown\n");
		bqi2c = NULL;
	}

	cfg_load();

	if (bqi2c) {
		/* 0.23.8 — ROOT CAUSE 2 of the battery saga (st=0x03 B1=1:
		 * CD_STAT 'CD high, IC disabled'): the BQ25120A CD pin
		 * (host charge-disable; Nicla wire = nRF P0.25 per ABX00050)
		 * floats high — the charger has been HARDWARE-DISABLED since
		 * the Zephyr port began, at every current setting. ArduinoFW
		 * drove it low ('CD pin port pending' comment, v0.21.4, was
		 * this exact gap). P0.25 unused by our overlay (verified
		 * 2026-10-29); Zephyr port-pin number = physical P0.xx. */
		static const struct device *gpio0 =
			DEVICE_DT_GET(DT_NODELABEL(gpio0));

		if (device_is_ready(gpio0) &&
		    gpio_pin_configure(gpio0, 25,
				       GPIO_OUTPUT_LOW) == 0) {
			printk("batt: BQ CD (P0.25) driven low - charger ON\n");
		}

		/* 0.23.7 (JP cell 2026-10-29: Renata ICP622540PMT, 550 mAh
		 * Li-ion, NTC third wire): the charger ran at the untouched
		 * factory default 10 mA since day one — "charging" was
		 * geological (550 mAh / 10 mA = 55 h). Renata standard charge
		 * 0.2C = 110 mA: full in ~5 h from empty, ~2 h from half.
		 * FAST_CHG = ICHRG_RANGE 1 (40-300 mA decade) + ICHRG code 7
		 * (40 + 7x10 = 110 mA) => 0x9C. One boot write + read-back. */
		uint8_t fastchg;

		if (bq_read(BQ_FAST_CHG, &fastchg) == 0 && fastchg != 0x9C) {
			if (bq_write(BQ_FAST_CHG, 0x9C) == 0 &&
			    bq_read(BQ_FAST_CHG, &fastchg) == 0) {
				printk("batt: ICHG %u mA (was 10 mA default)\n",
				       40 + ((fastchg >> 2) & 0x1F) * 10);
			} else {
				printk("batt: ICHG write FAILED\n");
			}
		}

		k_work_init_delayable(&batt_work, batt_work_handler);
		k_work_schedule(&batt_work, K_SECONDS(2));
	}
}
```

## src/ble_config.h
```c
/*
 * ble_config.h — SGC device-config chars (v0.18.0, error-tolerance audit B3)
 * =====================================================================
 * Implements the ArduinoFW 5.x char set the Zephyr port was missing
 * (audit 2026-10-09: the app fabricated defaults for these):
 *   ABC1 Device Name (R/W, ≤20 B)   ABC4 State+Sensors (R)
 *   ABC2 Arm Side (R/W, 0|1)        ABC5 Battery+Charging (R)
 *   ABC3 Discipline (R/W, 0..3)     ABC7 Flash Used % (R)
 *                                   ABD0 Cal Accuracy (R)
 *
 * Persistence: sector 0x1FC000 (LOG_END — reserved since SGL2, the SAME
 * address ArduinoFW used), struct byte-identical to ArduinoFW FlashConfig
 * so a device upgraded from ArduinoFW keeps its saved config.
 *
 * HONESTY RULES (JP directive 2026-10-06):
 *   - battery unknown  -> 0x7F (app renders "unknown"), never a fake 0%
 *   - battery-mode reads skipped until the CD pin port (wrong-pin write
 *     could disable charging — documented, not guessed)
 *   - cal accuracy -> 0 + TODO (BHI calibration status port)
 */
#ifndef SGC_BLE_CONFIG_H
#define SGC_BLE_CONFIG_H

#include <stdint.h>
#include <stdbool.h>

/* Load config from flash + start the battery poller. Call once at boot,
 * after store_init() (shares the flash device) — order vs BLE bring-up
 * does not matter (reads serve RAM cache). */
void ble_config_start(void);

/* ── Config (RAM cache, persisted async) ──────────────────────────── */
const char *ble_config_dev_name(void);   /* NUL-terminated, ≤20 chars */
uint8_t ble_config_arm_side(void);       /* 0=left 1=right            */
uint8_t ble_config_discipline(void);     /* 0..3                      */

/* Setters sanitize, update RAM, and schedule an erase+write on the
 * system workqueue (NEVER in BT RX context — 4 KiB erase ≈ 90 ms).
 * Rapid writes coalesce (one pending flush keeps the newest values). */
void ble_config_set_dev_name(const char *name, uint8_t len);
void ble_config_set_arm_side(uint8_t v);
void ble_config_set_discipline(uint8_t v);

/* ── Status surfaces ──────────────────────────────────────────────── */
/* ABC5: bit7 = charging (0 — TODO: STATUS CHG_STAT port), bits6-0 = %,
 * 0x7F = unknown (no battery / I2C error / battery-mode read skipped). */
uint8_t ble_config_battery_byte(void);

/* Bench debug (serial 'y', 0.23.4): one printk line with the RAW
 * BATT_MON register before/after a production read + decoded values —
 * latch test for the "always 92%" question (2026-10-28). */
void ble_config_batt_debug(void);

/* 0.23.5: VIN present at the last good battery poll. Power policy:
 * on USB the device must NOT System Off (JP GO 2026-10-28). */
bool ble_config_on_vin(void);

/* ABC4: bits4-0 = recorder state (SLEEP=0 ARMED=1 LOGGING=2 POST_RUN=3;
 * v0.23.0: SLEEP is the waiting state — it reports 0, the slot the old
 * IDLE occupied; ArduinoFW used 0xFF for waiting, we never did.
 * Documented), bits7-5 = sensor flags (0 — TODO BHI). */
uint8_t ble_config_state_byte(void);

/* ABC7: % of LOG region occupied by live runs (logical bytes). */
uint8_t ble_config_flash_used_pct(void);

/* ABD0: 0 until the BHI calibration-status port. */
uint8_t ble_config_cal(void);

#endif /* SGC_BLE_CONFIG_H */
```

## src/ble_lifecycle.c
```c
/*
 * ble_lifecycle.c — advertising + connection lifecycle (step 3c)
 * ==============================================================
 * Grew out of app-02 v0.2.1/0.2.2 (LED-as-state era). Owns:
 *
 *   - connectable advertising (ADV packet = flags + product service
 *     UUID; scan response = device name — setAdvertisedService parity)
 *   - the deferred advertising restart: bt_le_adv_start() must NEVER
 *     run inside the disconnected callback — the old adv set is only
 *     released AFTER that callback returns, so an inline call fails
 *     with -ENOMEM and the device turns invisible (bench 09-22, the
 *     v0.2.1 lesson). Callback only SCHEDULES adv_work; the restart
 *     runs from the sysworkq moments later, with retry.
 *   - the `connected` flag everyone else reads.
 *
 * The advertisement names the product service, whose UUID is defined
 * in pull_proto.c (single source of truth) — hence the include.
 */
#include <zephyr/kernel.h>
#include <zephyr/bluetooth/bluetooth.h>
#include <zephyr/bluetooth/conn.h>
#include "ble_lifecycle.h"
#include "pull_proto.h"
#include "ble_config.h"
#include "power_state.h"

static volatile bool connected;
static volatile bool suspended;
static struct bt_conn *cur_conn;

/* ── Advertising parameters ─────────────────────────────────────────
 * F12 (v0.23.0): SLEEP advertises SLOW — 2 s interval. Zephyr 4.4's
 * bluetooth.h ships NO connectable SLOW preset (only
 * BT_LE_ADV_CONN_FAST_1/2), so SGC defines its own: 3200 units ×
 * 0.625 ms = 2.0 s, connectable, name in the scan response — the
 * same shape as FAST_1, one interval away. */
#define ADV_INTERVAL_SLOW_2S 3200u

static volatile bool adv_slow;
static const struct bt_le_adv_param adv_fast_param =
	BT_LE_ADV_PARAM_INIT(BT_LE_ADV_OPT_CONN,
			     BT_GAP_ADV_FAST_INT_MIN_1,
			     BT_GAP_ADV_FAST_INT_MAX_1, NULL);
static const struct bt_le_adv_param adv_slow_param =
	BT_LE_ADV_PARAM_INIT(BT_LE_ADV_OPT_CONN,
			     ADV_INTERVAL_SLOW_2S, ADV_INTERVAL_SLOW_2S,
			     NULL);

static const struct bt_le_adv_param *adv_param(void)
{
	return adv_slow ? &adv_slow_param : &adv_fast_param;
}

/* bt_enable completion flag — the mode switch must not touch the HCI
 * layer before the stack is up (bt_ready() starts the first ad set
 * with whatever mode is current). Named bt_up, NOT bt_ready: the
 * bt_enable callback is also called bt_ready (name collision broke
 * the 0.23.0 build — bench 2026-10-27). */
static volatile bool bt_up;

bool ble_lifecycle_connected(void)
{
	return connected;
}


/* ── Advertising ─────────────────────────────────────────────────── */

static void start_advertising(void)
{
	int err = bt_le_adv_start(adv_param(),
				  pull_proto_ad(), pull_proto_ad_len(),
				  pull_proto_sd(), pull_proto_sd_len());
	if (err && err != -EALREADY) {
		printk("ERROR: adv start -> %d\n", err);
	}
}

/* Deferred restart with retry (self-rescheduling work — bounded 10
 * attempts, resets on success; see v0.2.2 discussion for the pattern). */
static struct k_work_delayable adv_work;

static void adv_work_handler(struct k_work *w)
{
	int err = bt_le_adv_start(adv_param(),
				  pull_proto_ad(), pull_proto_ad_len(),
				  pull_proto_sd(), pull_proto_sd_len());
	static uint8_t attempt;

	if (err == 0 || err == -EALREADY) {
		attempt = 0;
		printk("advertising up (%s)\n", adv_slow ? "slow 2s" : "fast");
		return;
	}
	if (++attempt < 10) {
		printk("adv start -> %d, retry %u/10\n", err, attempt);
		k_work_schedule(&adv_work, K_MSEC(100));
	} else {
		printk("ERROR: adv start -> %d, giving up after retries\n", err);
		attempt = 0;
	}
}

/* ── Connection callbacks (BT RX thread: short, defer, return) ──── */

static void connected_cb(struct bt_conn *conn, uint8_t err)
{
	char addr[BT_ADDR_LE_STR_LEN];

	bt_addr_le_to_str(bt_conn_get_dst(conn), addr, sizeof(addr));

	if (err) {
		printk("connect FAILED from %s (err %u), re-advertising\n",
		       addr, err);
		k_work_schedule(&adv_work, K_NO_WAIT);
		return;
	}

	connected = true;
	if (cur_conn) {
		bt_conn_unref(cur_conn);
	}
	cur_conn = bt_conn_ref(conn);
	power_state_on_connect();   /* F12: connected holds SLEEP, no off */
	printk("connected: %s (LED -> solid green)\n", addr);
}

static void disconnected_cb(struct bt_conn *conn, uint8_t reason)
{
	char addr[BT_ADDR_LE_STR_LEN];

	bt_addr_le_to_str(bt_conn_get_dst(conn), addr, sizeof(addr));

	connected = false;
	if (cur_conn) {
		bt_conn_unref(cur_conn);
		cur_conn = NULL;
	}

	/* Pull protocol owns stream state — let it abort cleanly
	 * (stateless design, SR-2: a disconnect costs one reconnect). */
	pull_proto_on_disconnect();
	power_state_on_disconnect();   /* F12: fresh 1 h window if SLEEP */

	if (suspended) {
		printk("disconnected: %s (reason 0x%02x), SUSPENDED "
		       "(recording)\n", addr, reason);
		return;
	}

	printk("disconnected: %s (reason 0x%02x), re-advertising\n",
	       addr, reason);

	k_work_schedule(&adv_work, K_NO_WAIT);
}

BT_CONN_CB_DEFINE(conn_callbacks) = {
	.connected    = connected_cb,
	.disconnected = disconnected_cb,
};

/* ── Bring-up ────────────────────────────────────────────────────── */

static void bt_ready(int err)
{
	if (err) {
		printk("ERROR: bt_enable -> %d\n", err);
		return;
	}
	printk("Bluetooth initialized\n");
	bt_up = true;

	/* v0.21.5: GAP name from persisted config (loaded in main
	 * before ble_lifecycle_start) - matches the advertisement. */
	if (bt_set_name(ble_config_dev_name()) != 0) {
		printk("GAP name set failed\n");
	}
	start_advertising();
	printk("Advertising as %s\n", ble_config_dev_name());
}

void ble_lifecycle_start(void)
{
	k_work_init_delayable(&adv_work, adv_work_handler);

	int err = bt_enable(bt_ready);

	if (err) {
		printk("ERROR: bt_enable -> %d\n", err);
	}
}

/* ── Recording suspension (JP 2026-09-29: ARM closes the link) ────
 * While ARMED/LOGGING there is no phone business — the connection and
 * advertising are torn down so acquisition runs with maximal memory
 * and radio quiet. The disconnected callback must NOT re-advertise
 * while suspended. Resumed when the recorder returns to SLEEP. */
void ble_lifecycle_suspend(void)
{
	suspended = true;

	int err = bt_le_adv_stop();

	if (err && err != -EALREADY) {
		printk("rec-suspend: adv stop -> %d\n", err);
	}
	if (cur_conn) {
		bt_conn_disconnect(cur_conn,
				   BT_HCI_ERR_REMOTE_USER_TERM_CONN);
	}
	printk("rec-suspend: BLE down for acquisition\n");
}

void ble_lifecycle_resume(void)
{
	if (!suspended) {
		return;
	}
	suspended = false;
	k_work_schedule(&adv_work, K_NO_WAIT);
	printk("rec-resume: advertising\n");
}

/* ── SLEEP advertising mode (F12, v0.23.0) ─────────────────────────
 * Slow 2 s while in SLEEP, fast when active. A live restart happens
 * ONLY when the ad set should be up right now (stack ready, not
 * connected, not recording-suspended); every other path — bt_ready's
 * first start, the post-suspend resume, the disconnect restart —
 * picks the current flag up naturally, so setting the mode during
 * boot (before bt_enable) is safe and is the intended main() flow. */
void ble_lifecycle_set_adv_slow(bool slow)
{
	if (adv_slow == slow) {
		return;
	}
	adv_slow = slow;

	if (!bt_up || connected || suspended) {
		return;
	}
	int err = bt_le_adv_stop();

	if (err && err != -EALREADY) {
		printk("adv mode switch: stop -> %d\n", err);
	}
	k_work_schedule(&adv_work, K_NO_WAIT);
}
```

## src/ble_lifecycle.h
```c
/*
 * ble_lifecycle.h — advertising + connection lifecycle (step 3c)
 */
#ifndef SGC_BLE_LIFECYCLE_H
#define SGC_BLE_LIFECYCLE_H

#include <stdbool.h>

/* bt_enable + first advertising. Async: readiness callback prints. */
void ble_lifecycle_start(void);

/* Link state (written by the conn callbacks, read everywhere). */
bool ble_lifecycle_connected(void);

/* Recording mode (JP 2026-09-29): ARM tears the link down — no phone
 * business while acquiring. Resume re-advertises when back to SLEEP. */
void ble_lifecycle_suspend(void);
void ble_lifecycle_resume(void);

/* F12 advertising mode: slow 2 s interval in SLEEP, fast when active.
 * Safe to call before ble_lifecycle_start() (boot sets slow — the
 * first ad set is then born slow); live-restarts the ad set when it
 * is up and the stack is ready. */
void ble_lifecycle_set_adv_slow(bool slow);

#endif /* SGC_BLE_LIFECYCLE_H */
```

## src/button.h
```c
#ifndef SGC_BUTTON_H
#define SGC_BUTTON_H

/* F03: single press of the sealed piezo/monostable button arms the
 * device from SLEEP. Init after recorder_init(). */
int button_init(void);

/* F12/F13 System Off wake arming: reconfigures P0.02 to a level
 * (SENSE) input — the only pin config that survives System OFF.
 * Call immediately before sys_poweroff(). The wake is a clean cold
 * boot; button_init() re-arms the normal edge path on it. */
void button_arm_systemoff_wake(void);

#endif
```
